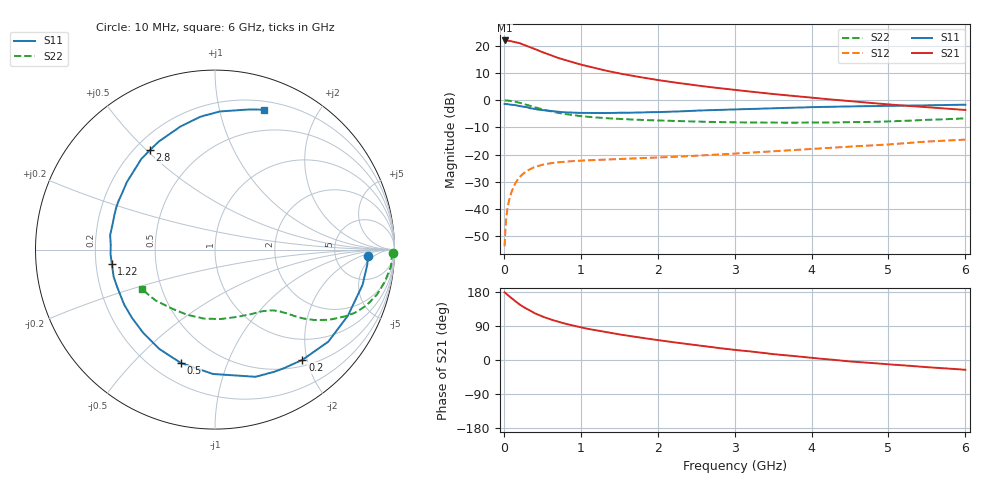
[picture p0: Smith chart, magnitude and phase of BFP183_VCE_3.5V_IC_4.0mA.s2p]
! Infineon Technologies  Discrete & RF Semiconductors
! BFP183
! VCE = 3.5 V,  IC =  4.0 mA
! Common Emitter S-Parameters:  Jan 2016
# GHz  S  MA  R  50
!  f  S11  S21  S12  S22
! GHz  MAG  ANG  MAG  ANG  MAG  ANG  MAG  ANG
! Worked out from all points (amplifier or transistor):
!   210 points, 10 MHz to 6 GHz, reference 50 ohm
!   highest |S21| = 21.9 dB at 10 MHz (marker M1)
!   |S21| within 3 dB of that: start of sweep to 389.7 MHz
!   unconditionally stable (mu >= 1): 1.694 GHz to 5.757 GHz
!   at 185 MHz: K = 0.13, MSG = 25.0 dB, |S12| = -28.9 dB
!   at 1.52 GHz: K = 0.92, MSG = 15.7 dB, |S12| = -21.6 dB
!   at 6 GHz: K = 0.95, MSG = 5.4 dB, |S12| = -14.5 dB
!   S11 on the Smith chart (normalised r, x): 10 MHz: 12, -3; 200 MHz: 0.60, -1.92; 500 MHz: 0.31, -0.70; 1.22 GHz: 0.27, -0.06; 2.8 GHz: 0.26, +0.51; 6 GHz: 0.28, +1.37
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0.01  0.8507 -2.5  12.44 178.5  0.0021 84.0  0.9946 -1.1
0.02  0.8529 -5.5  12.42 177.1  0.0042 80.6  0.9858 -2.2
0.04  0.8461 -10.8  12.37 173.3  0.0087 83.5  0.985 -4.3
0.1  0.827 -26.4  12.01 163.1  0.0207 75.6  0.9626 -10.8
0.15  0.8134 -39.1  11.57 155.0  0.03 70.0  0.9361 -15.6
0.2  0.7839 -51.6  11.16 147.3  0.0383 64.3  0.9002 -20.1
0.24  0.7639 -60.1  10.61 141.8  0.0433 59.4  0.8675 -23.2
0.3  0.7438 -72.3  9.874 134.8  0.0507 54.0  0.8168 -27.0
0.4  0.6931 -90.9  8.705 123.5  0.0595 46.7  0.7438 -31.8
0.5  0.6595 -106.8  7.618 114.6  0.0654 40.8  0.6787 -35.3
0.6  0.6345 -119.4  6.788 107.4  0.0696 36.6  0.6269 -37.8
0.7  0.6128 -130.7  5.986 101.3  0.0724 33.5  0.5867 -39.5
0.8  0.5989 -140.5  5.426 95.7  0.0747 31.1  0.5566 -40.7
1.02  0.5835 -159.1  4.422 85.4  0.0779 28.0  0.5071 -43.2
1.22  0.5801 -172.3  3.763 77.6  0.0802 26.0  0.4792 -45.3
1.6  0.5873 167.1  2.917 64.5  0.0842 25.2  0.4469 -49.5
2.02  0.6048 149.1  2.318 52.0  0.0892 25.9  0.423 -55.5
2.8  0.6623 123.1  1.662 31.4  0.101 27.7  0.3963 -70.0
3.1  0.6828 115.2  1.49 24.8  0.1067 28.1  0.3899 -76.6
4.1  0.7486 94.6  1.078 3.8  0.1305 27.4  0.3886 -102.0
5.1  0.788 80.5  0.815 -12.8  0.1579 25.1  0.4113 -129.1
6  0.8262 70.6  0.661 -25.8  0.1891 18.5  0.4636 -151.7
